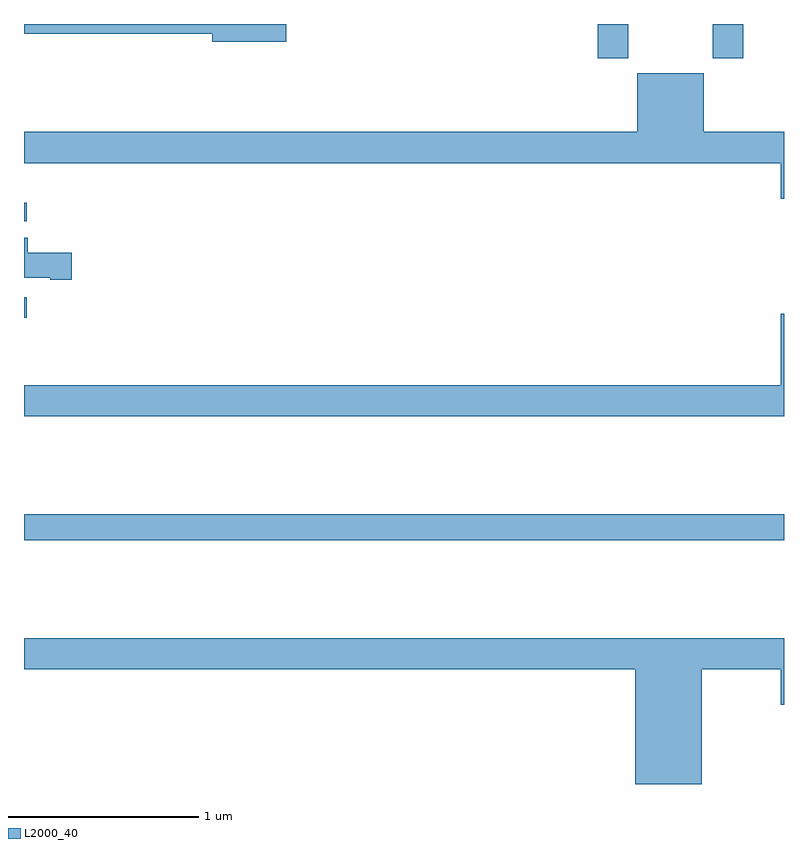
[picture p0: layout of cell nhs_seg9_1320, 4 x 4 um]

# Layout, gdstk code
import gdstk
lib = gdstk.Library(unit=1e-6, precision=1e-09)
def R(c, l, rs):  # rectangles x0, y0, x1, y1
    for r in rs: c.add(gdstk.rectangle(r[:2], r[2:], *l))
def P(c, l, *ps):  # polygons
    for p in ps: c.add(gdstk.Polygon(p, *l))
L2000_40 = (2000, 40)

nhs_seg9_1320 = lib.new_cell('nhs_seg9_1320')
R(nhs_seg9_1320, L2000_40, [(185,1179.784,189,1179.92), (185,1180.953,185.014,1181.061), (185,1181.463,185.014,1181.559), (188.021,1182.321,188.181,1182.5), (188.626,1182.321,188.786,1182.5)])
P(nhs_seg9_1320, L2000_40, [(186.379,1182.5),(185,1182.5),(185,1182.448),(185.99,1182.448),(185.99,1182.406),(186.379,1182.406)],
  [(189,1181.932),(188.578,1181.932),(188.578,1182.241),(188.228,1182.241),(188.228,1181.932),(185,1181.932),(185,1181.768),(188.984,1181.768),(188.984,1181.58),(189,1181.58)],
  [(185.251,1181.295),(185.02,1181.295),(185.02,1181.374),(185,1181.374),(185,1181.165),(185.138,1181.165),(185.138,1181.153),(185.251,1181.153)],
  [(189,1180.975),(188.984,1180.975),(188.984,1180.6),(185,1180.6),(185,1180.436),(189,1180.436)],
  [(188.566,1179.104),(188.984,1179.104),(188.984,1178.916),(189,1178.916),(189,1179.268),(185,1179.268),(185,1179.104),(188.216,1179.104),(188.216,1178.5),(188.566,1178.5)])

lib.write_gds('nhs_seg9_1320.gds')
